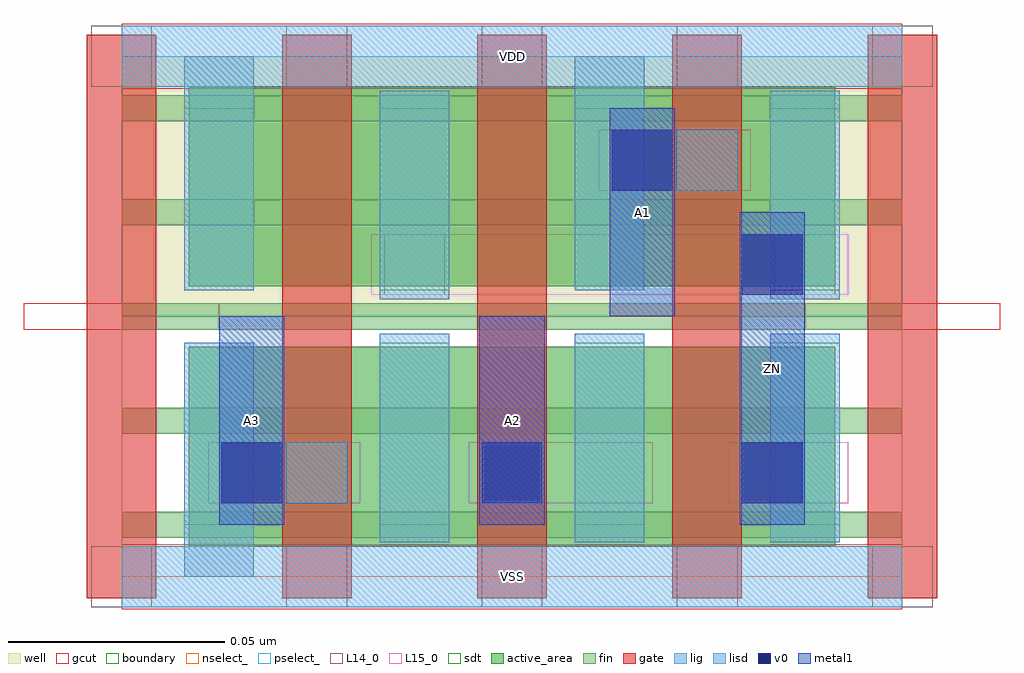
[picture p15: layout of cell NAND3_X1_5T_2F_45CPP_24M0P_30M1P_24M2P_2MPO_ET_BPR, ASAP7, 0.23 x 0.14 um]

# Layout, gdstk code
import gdstk
lib = gdstk.Library(unit=1e-6, precision=2.5e-10)
def R(c, l, rs):  # rectangles x0, y0, x1, y1
    for r in rs: c.add(gdstk.rectangle(r[:2], r[2:], *l))
def A(c, l, x, y, w, h, nx, ny, dx, dy):  # array of equal rectangles
    R(c, l, [(x+i*dx, y+j*dy, x+i*dx+w, y+j*dy+h) for i in range(nx) for j in range(ny)])
well = (1, 0)
fin = (2, 0)
gate = (7, 0)
gcut = (10, 0)
active_area = (11, 0)
nselect_ = (12, 0)
pselect_ = (13, 0)
L14_0 = (14, 0)
L15_0 = (15, 0)
lig = (16, 0)
lisd = (17, 0)
v0 = (18, 0)
metal1 = (19, 0)
sdt = (88, 0)
boundary = (100, 0)

nand3_x1_5t_2f_45cpp_24m = lib.new_cell('NAND3_X1_5T_2F_45CPP_24M0P_30M1P_24M2P_2MPO_ET_BPR')
R(nand3_x1_5t_2f_45cpp_24m, well, [(0,0.06,0.18,0.12)])
A(nand3_x1_5t_2f_45cpp_24m, fin, 0, 0.009, 0.18, 0.006, 1, 5, 0, 0.024)
A(nand3_x1_5t_2f_45cpp_24m, gate, -0.008, -0.005, 0.016, 0.13, 5, 1, 0.045, 0)
R(nand3_x1_5t_2f_45cpp_24m, gcut, [(0,-0.0075,0.18,0.0075), (-0.0225,0.057,0.0225,0.063), (0.1575,0.057,0.2025,0.063), (0,0.1125,0.18,0.1275)])
A(nand3_x1_5t_2f_45cpp_24m, active_area, 0.0155, 0.007, 0.059, 0.046, 3, 2, 0.045, 0.06)
R(nand3_x1_5t_2f_45cpp_24m, nselect_, [(0,0,0.18,0.06)])
R(nand3_x1_5t_2f_45cpp_24m, pselect_, [(0,0.06,0.18,0.12)])
A(nand3_x1_5t_2f_45cpp_24m, L14_0, -0.007, -0.007, 0.014, 0.014, 5, 2, 0.045, 0.12)
R(nand3_x1_5t_2f_45cpp_24m, L14_0, [(0.038,0.017,0.052,0.031), (0.083,0.017,0.097,0.031), (0.1505,0.017,0.1645,0.031), (0.0605,0.065,0.0745,0.079), (0.1505,0.065,0.1645,0.079), (0.128,0.089,0.142,0.103)])
R(nand3_x1_5t_2f_45cpp_24m, L15_0, [(0,-0.007,0.18,0.007), (0.02,0.017,0.055,0.031), (0.08,0.017,0.1225,0.031), (0.14,0.017,0.1675,0.031), (0.0575,0.065,0.1675,0.079), (0.11,0.089,0.145,0.103), (0,0.113,0.18,0.127)])
R(nand3_x1_5t_2f_45cpp_24m, lig, [(0,-0.007,0.18,0.007), (0.038,0.017,0.052,0.031), (0.083,0.017,0.097,0.031), (0.128,0.089,0.142,0.103), (0,0.113,0.18,0.127)])
A(nand3_x1_5t_2f_45cpp_24m, lisd, 0.0595, 0.008, 0.016, 0.048, 3, 1, 0.045, 0)
R(nand3_x1_5t_2f_45cpp_24m, lisd, [(0.0145,0,0.0305,0.054), (0.0595,0.064,0.0755,0.112), (0.1495,0.064,0.1655,0.112), (0.0145,0.066,0.0305,0.12), (0.1045,0.066,0.1205,0.12)])
A(nand3_x1_5t_2f_45cpp_24m, v0, 0.023, 0.017, 0.014, 0.014, 3, 1, 0.06, 0)
R(nand3_x1_5t_2f_45cpp_24m, v0, [(0.143,0.065,0.157,0.079), (0.113,0.089,0.127,0.103)])
R(nand3_x1_5t_2f_45cpp_24m, metal1, [(0.0225,0.012,0.0375,0.06), (0.0825,0.012,0.0975,0.06), (0.1425,0.012,0.1575,0.084), (0.1125,0.06,0.1275,0.108)])
A(nand3_x1_5t_2f_45cpp_24m, sdt, 0.0145, 0.012, 0.016, 0.042, 4, 2, 0.045, 0.054)
R(nand3_x1_5t_2f_45cpp_24m, boundary, [(0,0,0.18,0.12)])
nand3_x1_5t_2f_45cpp_24m.add(gdstk.Label('ZN', (0.15,0.048), layer=19, texttype=251))
nand3_x1_5t_2f_45cpp_24m.add(gdstk.Label('A1', (0.12,0.084), layer=19, texttype=251))
nand3_x1_5t_2f_45cpp_24m.add(gdstk.Label('A2', (0.09,0.036), layer=19, texttype=251))
nand3_x1_5t_2f_45cpp_24m.add(gdstk.Label('A3', (0.03,0.036), layer=19, texttype=251))
nand3_x1_5t_2f_45cpp_24m.add(gdstk.Label('VDD', (0.09,0.12), layer=15, texttype=251))
nand3_x1_5t_2f_45cpp_24m.add(gdstk.Label('VSS', (0.09,0), layer=15, texttype=251))
nand3_x1_5t_2f_45cpp_24m.add(gdstk.Label('VDD', (0.09,0.12), layer=1, texttype=251))
nand3_x1_5t_2f_45cpp_24m.add(gdstk.Label('VSS', (0.09,0), layer=3, texttype=251))

lib.write_gds('NAND3_X1_5T_2F_45CPP_24M0P_30M1P_24M2P_2MPO_ET_BPR.gds')
